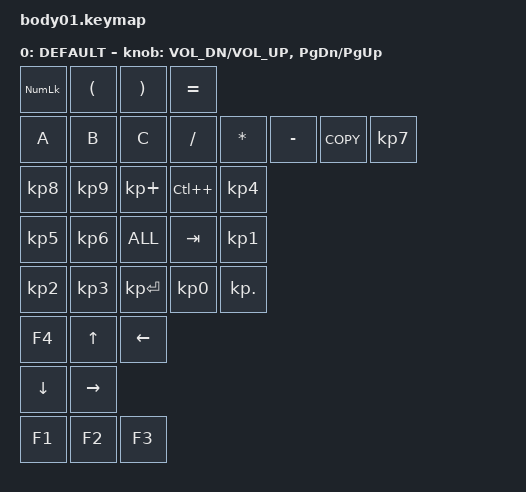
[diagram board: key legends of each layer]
/*
 * mykeyboard.keymap
 * 30 keys + 2 rotary encoders (ENC0: row3/col0, ENC1: row6/col1)
 * Generated for use with keymap-editor (nickcoutsos.github.io/keymap-editor)
 */

#include <behaviors.dtsi>
#include <dt-bindings/zmk/keys.h>

/ {
    behaviors {
        rot_kp: sensor_rotate_kp {
            compatible = "zmk,behavior-sensor-rotate-var";
            #sensor-binding-cells = <2>;
            bindings = <&kp>, <&kp>;
        };
    };

    keymap {
        compatible = "zmk,keymap";

        default_layer {
            label = "DEFAULT";

            // 通常キー30個のbindings
            // 順序はinfo.jsonのlayout配列と一致させること
            // type:encoder のキー（ENC0, ENC1）はbindingsに含めない

            bindings = <
&kp KP_NUM  &kp LPAR   &kp RPAR      &kp EQUAL
&kp A       &kp B      &kp C         &kp SLASH     &kp STAR    &kp MINUS  &kp COPY  &kp KP_N7
&kp KP_N8   &kp KP_N9  &kp KP_PLUS   &kp LC(PLUS)  &kp KP_N4
&kp KP_N5   &kp KP_N6  &kp ALL       &kp TAB       &kp KP_N1
&kp KP_N2   &kp KP_N3  &kp KP_ENTER  &kp KP_N0     &kp KP_DOT
&kp F4      &kp UP     &kp LEFT
&kp DOWN    &kp RIGHT
&kp F1      &kp F2     &kp F3
            >;

            sensor-bindings = <
                &rot_kp C_VOL_DN C_VOL_UP   // ENC0（左上）: 音量
                &rot_kp PG_DN    PG_UP       // ENC1（右下）: ページ
            >;
        };
    };
};
